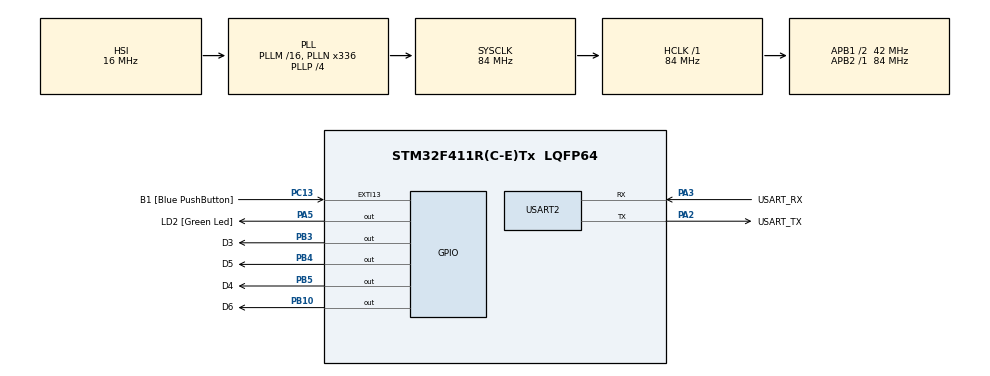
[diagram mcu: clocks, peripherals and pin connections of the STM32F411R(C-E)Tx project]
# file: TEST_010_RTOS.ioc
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FREERTOS.Tasks01=myTask01,0,128,mystartTask01,Default,NULL,Dynamic,NULL,NULL;myTask02,-3,128,myStartTask02,Default,NULL,Dynamic,NULL,NULL
FREERTOS.configUSE_NEWLIB_REENTRANT=1
Mcu.Family=STM32F4
Mcu.Name=STM32F411R(C-E)Tx
Mcu.Package=LQFP64
NVIC.EXTI15_10_IRQn=true\:5\:0\:false\:false\:true\:true\:true\:true\:true
NVIC.PriorityGroup=NVIC_PRIORITYGROUP_4
NVIC.TIM1_UP_TIM10_IRQn=true\:15\:0\:false\:false\:true\:false\:false\:true\:true
NVIC.TimeBase=TIM1_UP_TIM10_IRQn
NVIC.TimeBaseIP=TIM10
PA13.GPIO_Label=TMS
PA13.Mode=Serial_Wire
PA13.Signal=SYS_JTMS-SWDIO
PA14.GPIO_Label=TCK
PA14.Mode=Serial_Wire
PA14.Signal=SYS_JTCK-SWCLK
PA2.GPIO_Label=USART_TX
PA2.Mode=Asynchronous
PA2.Signal=USART2_TX
PA3.GPIO_Label=USART_RX
PA3.Mode=Asynchronous
PA3.Signal=USART2_RX
PA5.GPIO_Label=LD2 [Green Led]
PA5.Signal=GPIO_Output
PB10.GPIO_Label=D6
PB10.Signal=GPIO_Output
PB3.GPIO_Label=D3
PB3.Signal=GPIO_Output
PB4.GPIO_Label=D5
PB4.Signal=GPIO_Output
PB5.GPIO_Label=D4
PB5.Signal=GPIO_Output
PC13-ANTI_TAMP.GPIO_Label=B1 [Blue PushButton]
PC13-ANTI_TAMP.GPIO_ModeDefaultEXTI=GPIO_MODE_IT_FALLING
PC13-ANTI_TAMP.Signal=GPXTI13
PC14-OSC32_IN.Mode=LSE-External-Oscillator
PC14-OSC32_IN.Signal=RCC_OSC32_IN
PC15-OSC32_OUT.Mode=LSE-External-Oscillator
PC15-OSC32_OUT.Signal=RCC_OSC32_OUT
PH0\ -\ OSC_IN.Mode=HSE-External-Clock-Source
PH0\ -\ OSC_IN.Signal=RCC_OSC_IN
PH1\ -\ OSC_OUT.Mode=HSE-External-Clock-Source
PH1\ -\ OSC_OUT.Signal=RCC_OSC_OUT
ProjectManager.HeapSize=0x200
ProjectManager.StackSize=0x400
ProjectManager.TargetToolchain=STM32CubeIDE
RCC.48MHZClocksFreq_Value=84000000
RCC.AHBFreq_Value=84000000
RCC.APB1CLKDivider=RCC_HCLK_DIV2
RCC.APB1Freq_Value=42000000
RCC.APB1TimFreq_Value=84000000
RCC.APB2Freq_Value=84000000
RCC.APB2TimFreq_Value=84000000
RCC.CortexFreq_Value=84000000
RCC.FLatency-AdvancedSettings=FLASH_LATENCY_2
RCC.HCLKFreq_Value=84000000
RCC.HSE_VALUE=8000000
RCC.HSI_VALUE=16000000
RCC.PLLN=336
RCC.PLLP=RCC_PLLP_DIV4
RCC.SYSCLKFreq_VALUE=84000000
RCC.SYSCLKSource=RCC_SYSCLKSOURCE_PLLCLK
RCC.VCOOutputFreq_Value=336000000
USART2.VirtualMode=VM_ASYNC
VP_FREERTOS_VS_CMSIS_V1.Mode=CMSIS_V1
VP_SYS_VS_tim10.Mode=TIM10
board=NUCLEO-F411RE

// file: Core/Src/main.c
/* USER CODE BEGIN Header */
/**
  ******************************************************************************
  * @file           : main.c
  * @brief          : Main program body
  ******************************************************************************
  * @attention
  *
  * Copyright (c) 2025 STMicroelectronics.
  * All rights reserved.
  *
  * This software is licensed under terms that can be found in the LICENSE file
  * in the root directory of this software component.
  * If no LICENSE file comes with this software, it is provided AS-IS.
  *
  ******************************************************************************
  */
/* USER CODE END Header */
#include "main.h"
#include "cmsis_os.h"

UART_HandleTypeDef huart2;

osThreadId myTask01Handle;
osThreadId myTask02Handle;

void SystemClock_Config(void);
static void MX_GPIO_Init(void);
static void MX_USART2_UART_Init(void);
void mystartTask01(void const * argument);
void myStartTask02(void const * argument);

/* USER CODE BEGIN 0 */
int bn = 0; mode = 0, t1 = 0 ;	//mode : 1 button pressed, 0 relese
int step = 0;
void HAL_GPIO_EXTI_Callback(uint16_t GPIO_Pin)
{
	 step = 0;
	 mode = 1;
	 bn++;
	//printf("B1 button pressed..... %d times", bn++);
}
void LD2test()
{
	HAL_GPIO_TogglePin(LD2_GPIO_Port, LD2_Pin);
}
void step_wave(int step)
{
	switch(step)
	{
	case 1:
	//step 1
	HAL_GPIO_WritePin(D3_GPIO_Port ,D3_Pin, 1);
	HAL_GPIO_WritePin(D4_GPIO_Port ,D4_Pin, 0);
	HAL_GPIO_WritePin(D5_GPIO_Port ,D5_Pin, 0);
	HAL_GPIO_WritePin(D6_GPIO_Port ,D6_Pin, 0);
			break;
	case 2:
	//step 2
	HAL_GPIO_WritePin(D3_GPIO_Port ,D3_Pin, 0);
	HAL_GPIO_WritePin(D4_GPIO_Port ,D4_Pin, 1);
	HAL_GPIO_WritePin(D5_GPIO_Port ,D5_Pin, 0);
	HAL_GPIO_WritePin(D6_GPIO_Port ,D6_Pin, 0);
			break;
	case 3:
	//step 3
	HAL_GPIO_WritePin(D3_GPIO_Port ,D3_Pin, 0);
	HAL_GPIO_WritePin(D4_GPIO_Port ,D4_Pin, 0);
	HAL_GPIO_WritePin(D5_GPIO_Port ,D5_Pin, 1);
	HAL_GPIO_WritePin(D6_GPIO_Port ,D6_Pin, 0);
			break;
	case 4:
	//step 4
	HAL_GPIO_WritePin(D3_GPIO_Port ,D3_Pin, 0);
	HAL_GPIO_WritePin(D4_GPIO_Port ,D4_Pin, 0);
	HAL_GPIO_WritePin(D5_GPIO_Port ,D5_Pin, 0);
	HAL_GPIO_WritePin(D6_GPIO_Port ,D6_Pin, 1);
			break;
	}
}

/* USER CODE END 0 */

int main(void)
{

  /* MCU Configuration--------------------------------------------------------*/

  /* Reset of all peripherals, Initializes the Flash interface and the Systick. */
  HAL_Init();

  /* Configure the system clock */
  SystemClock_Config();

  /* Initialize all configured peripherals */
  MX_GPIO_Init();
  MX_USART2_UART_Init();

  /* Create the thread(s) */
  /* definition and creation of myTask01 */
  osThreadDef(myTask01, mystartTask01, osPriorityNormal, 0, 128);
  myTask01Handle = osThreadCreate(osThread(myTask01), NULL);

  /* definition and creation of myTask02 */
  osThreadDef(myTask02, myStartTask02, osPriorityIdle, 0, 128);
  myTask02Handle = osThreadCreate(osThread(myTask02), NULL);

  /* USER CODE BEGIN RTOS_THREADS */
  /* add threads, ... */
  ProgramStart("RTOS - TEST");
  /* USER CODE END RTOS_THREADS */

  /* Start scheduler */
  osKernelStart();

  /* We should never get here as control is now taken by the scheduler */
  /* Infinite loop */
  /* USER CODE BEGIN WHILE */
  while (1)
  {
	  LD2test();
//	  os_Delay(500);
//		HAL_Delay(500);
    /* USER CODE END WHILE */

  }
}

void SystemClock_Config(void)
{
  RCC_OscInitTypeDef RCC_OscInitStruct = {0};
  RCC_ClkInitTypeDef RCC_ClkInitStruct = {0};

  /** Configure the main internal regulator output voltage
  */
  __HAL_RCC_PWR_CLK_ENABLE();
  __HAL_PWR_VOLTAGESCALING_CONFIG(PWR_REGULATOR_VOLTAGE_SCALE1);

  /** Initializes the RCC Oscillators according to the specified parameters
  * in the RCC_OscInitTypeDef structure.
  */
  RCC_OscInitStruct.OscillatorType = RCC_OSCILLATORTYPE_HSI;
  RCC_OscInitStruct.HSIState = RCC_HSI_ON;
  RCC_OscInitStruct.HSICalibrationValue = RCC_HSICALIBRATION_DEFAULT;
  RCC_OscInitStruct.PLL.PLLState = RCC_PLL_ON;
  RCC_OscInitStruct.PLL.PLLSource = RCC_PLLSOURCE_HSI;
  RCC_OscInitStruct.PLL.PLLM = 16;
  RCC_OscInitStruct.PLL.PLLN = 336;
  RCC_OscInitStruct.PLL.PLLP = RCC_PLLP_DIV4;
  RCC_OscInitStruct.PLL.PLLQ = 4;
  if (HAL_RCC_OscConfig(&RCC_OscInitStruct) != HAL_OK)
  {
    Error_Handler();
  }

  /** Initializes the CPU, AHB and APB buses clocks
  */
  RCC_ClkInitStruct.ClockType = RCC_CLOCKTYPE_HCLK|RCC_CLOCKTYPE_SYSCLK
                              |RCC_CLOCKTYPE_PCLK1|RCC_CLOCKTYPE_PCLK2;
  RCC_ClkInitStruct.SYSCLKSource = RCC_SYSCLKSOURCE_PLLCLK;
  RCC_ClkInitStruct.AHBCLKDivider = RCC_SYSCLK_DIV1;
  RCC_ClkInitStruct.APB1CLKDivider = RCC_HCLK_DIV2;
  RCC_ClkInitStruct.APB2CLKDivider = RCC_HCLK_DIV1;

  if (HAL_RCC_ClockConfig(&RCC_ClkInitStruct, FLASH_LATENCY_2) != HAL_OK)
  {
    Error_Handler();
  }
}

static void MX_USART2_UART_Init(void)
{

  huart2.Instance = USART2;
  huart2.Init.BaudRate = 115200;
  huart2.Init.WordLength = UART_WORDLENGTH_8B;
  huart2.Init.StopBits = UART_STOPBITS_1;
  huart2.Init.Parity = UART_PARITY_NONE;
  huart2.Init.Mode = UART_MODE_TX_RX;
  huart2.Init.HwFlowCtl = UART_HWCONTROL_NONE;
  huart2.Init.OverSampling = UART_OVERSAMPLING_16;
  if (HAL_UART_Init(&huart2) != HAL_OK)
  {
    Error_Handler();
  }

}

static void MX_GPIO_Init(void)
{
  GPIO_InitTypeDef GPIO_InitStruct = {0};

  /* GPIO Ports Clock Enable */
  __HAL_RCC_GPIOC_CLK_ENABLE();
  __HAL_RCC_GPIOH_CLK_ENABLE();
  __HAL_RCC_GPIOA_CLK_ENABLE();
  __HAL_RCC_GPIOB_CLK_ENABLE();

  /*Configure GPIO pin Output Level */
  HAL_GPIO_WritePin(LD2_GPIO_Port, LD2_Pin, GPIO_PIN_RESET);

  /*Configure GPIO pin Output Level */
  HAL_GPIO_WritePin(GPIOB, D6_Pin|D3_Pin|D5_Pin|D4_Pin, GPIO_PIN_RESET);

  /*Configure GPIO pin : B1_Pin */
  GPIO_InitStruct.Pin = B1_Pin;
  GPIO_InitStruct.Mode = GPIO_MODE_IT_FALLING;
  GPIO_InitStruct.Pull = GPIO_NOPULL;
  HAL_GPIO_Init(B1_GPIO_Port, &GPIO_InitStruct);

  /*Configure GPIO pin : LD2_Pin */
  GPIO_InitStruct.Pin = LD2_Pin;
  GPIO_InitStruct.Mode = GPIO_MODE_OUTPUT_PP;
  GPIO_InitStruct.Pull = GPIO_NOPULL;
  GPIO_InitStruct.Speed = GPIO_SPEED_FREQ_LOW;
  HAL_GPIO_Init(LD2_GPIO_Port, &GPIO_InitStruct);

  /*Configure GPIO pins : D6_Pin D3_Pin D5_Pin D4_Pin */
  GPIO_InitStruct.Pin = D6_Pin|D3_Pin|D5_Pin|D4_Pin;
  GPIO_InitStruct.Mode = GPIO_MODE_OUTPUT_PP;
  GPIO_InitStruct.Pull = GPIO_NOPULL;
  GPIO_InitStruct.Speed = GPIO_SPEED_FREQ_LOW;
  HAL_GPIO_Init(GPIOB, &GPIO_InitStruct);

  /* EXTI interrupt init*/
  HAL_NVIC_SetPriority(EXTI15_10_IRQn, 5, 0);
  HAL_NVIC_EnableIRQ(EXTI15_10_IRQn);

}

void mystartTask01(void const * argument)
{
  /* USER CODE BEGIN 5 */
	int n1 = 0;
  /* Infinite loop */
  for(;;)
  {
	LD2test();
	Cursor(0, 0);
	//printf("============LD2 flashed %d Times_Task1=============\r\n", n1++);
	printf("============motor flashed %d Times_Task1=============\r\n", n1++);
//	HAL_Delay(100);
    osDelay(10);
  }
  /* USER CODE END 5 */
}

void myStartTask02(void const * argument)
{
  /* USER CODE BEGIN myStartTask02 */
	int n2 = 0;
  /* Infinite loop */
  for(;;)
  {
	  int d;	//degree angle
	  Cursor(0,10);
	  if(mode)
	  {
	  //printf("Input Degree :"); scanf("%d", &d);
	  //int wf = 2048 * d / 360;
	  //int step = 4096 * d / 360;
	  //printf("wave(full) : %d steps, Half : %d step", wf, step);
		  printf("B1 button pressed..... %d times", bn);
		  for(int i = 0; i < 256; i++)
		  {
			  step_wave((i % 4) + 1); osDelay(10);
		  }
		  mode = 0;
		  //professor
		  //step_wave((t1 % 4) +1);
		  //if(++t1 > 256) { t1 = 0; mode = 0;}
	  }
	  else
	  {	 printf("				" ); }

	  osDelay(1);
	//HAL_Delay(500);
  }
  /* USER CODE END myStartTask02 */
}

void HAL_TIM_PeriodElapsedCallback(TIM_HandleTypeDef *htim)
{
  if (htim->Instance == TIM10) {
    HAL_IncTick();
  }
}

void Error_Handler(void)
{
  __disable_irq();
  while (1)
  {
  }
}
